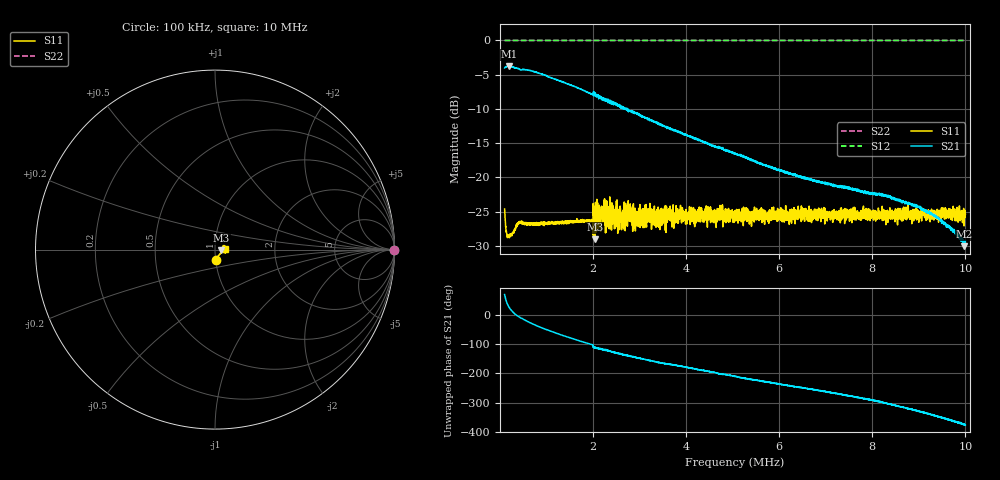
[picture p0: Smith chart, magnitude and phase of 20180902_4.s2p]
! Anritsu VNA Master:  Model: MS2026C/19
! SN:  1815009
! /card0/usr/20180902_4.s2p
! Existing Calibration Information:
! TYPE:  Current Settings,  Active Cal Settings
! TIME:  09/02/2018 12:31:00 PM,  09/02/2018 11:58:48 AM
! INTERNAL TEMP:  52.3 C,  48.8 C
! # POINTS:  4001,  4001
! START FREQ:  100.000 kHz,  100.000 kHz
! STOP FREQ:  10.000 MHz,  10.000 MHz
! SOURCE POWER:  Low,  Low
! IFBW:  500 Hz,  500 Hz
! AVG FACTOR:  5 ,  1
! REF PLANE 1:  0 mm,  0 mm
! REF PLANE 2:  0 mm,  0 mm
! CAL TYPE:  1P2P S11,S21,  1P2P S11,S21
! CAL METHOD:  SOLT,  SOLT
! CAL LINE TYPE:  Coax,  Coax
! DUT PORT 1:  N-Conn(M),  N-Conn(M)
! DUT PORT 2:  N-Conn(M),  N-Conn(M)
! CAL STATUS:  OK: Accuracy High,  --
# GHZ S RI R 50.0
! FREQ.GHZ  S11RE  S11IM  S21RE  S21IM  S12RE  S12IM  S22RE  S22IM
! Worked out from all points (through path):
!   4001 points, 100 kHz to 10 MHz, reference 50 ohm
!   highest |S21| = -3.77 dB at 191.6 kHz (marker M1); lowest = -30.0 dB at 9.98 MHz (marker M2)
!   group delay of S21, straight-line fit = 95.6 ns
!   lowest |S11| = -29.0 dB at 2.035 MHz (marker M3), VSWR 1.07, Z = 53.6 - j0.504 ohm
!   |S11| at or under -10 dB: start of sweep to end of sweep
!   |S22| runs from 0.0 to 0.0 dB; largest |S21 - S12| = 1.3
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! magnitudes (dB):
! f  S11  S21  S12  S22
! 100 kHz  -24.6  -4.0  0.0  0.0
! 156.9 kHz  -28.6  -3.8  0.0  0.0
! 191.6 kHz  -28.7  -3.8  0.0  0.0
! 429.2 kHz  -26.5  -4.2  0.0  0.0
! 810.3 kHz  -26.8  -4.7  0.0  0.0
! 1.751 MHz  -26.2  -7.2  0.0  0.0
! 1.951 MHz  -26.4  -7.8  0.0  0.0
! 2.035 MHz  -29.0  -8.0  0.0  0.0
! 2.308 MHz  -26.0  -8.9  0.0  0.0
! 2.337 MHz  -24.4  -8.8  0.0  0.0
! 2.607 MHz  -26.6  -9.9  0.0  0.0
! 2.793 MHz  -25.9  -10.2  0.0  0.0
! 2.924 MHz  -25.6  -10.6  0.0  0.0
! 3.402 MHz  -25.8  -12.1  0.0  0.0
! 3.607 MHz  -25.0  -12.7  0.0  0.0
! 3.748 MHz  -25.2  -13.1  0.0  0.0
! 5.05 MHz  -25.1  -16.6  0.0  0.0
! 6.701 MHz  -25.6  -20.3  0.0  0.0
! 8.352 MHz  -25.5  -22.8  0.0  0.0
! 9.302 MHz  -26.0  -25.3  0.0  0.0
! 9.98 MHz  -25.9  -30.0  0.0  0.0
! 10 MHz  -25.4  -29.3  0.0  0.0
